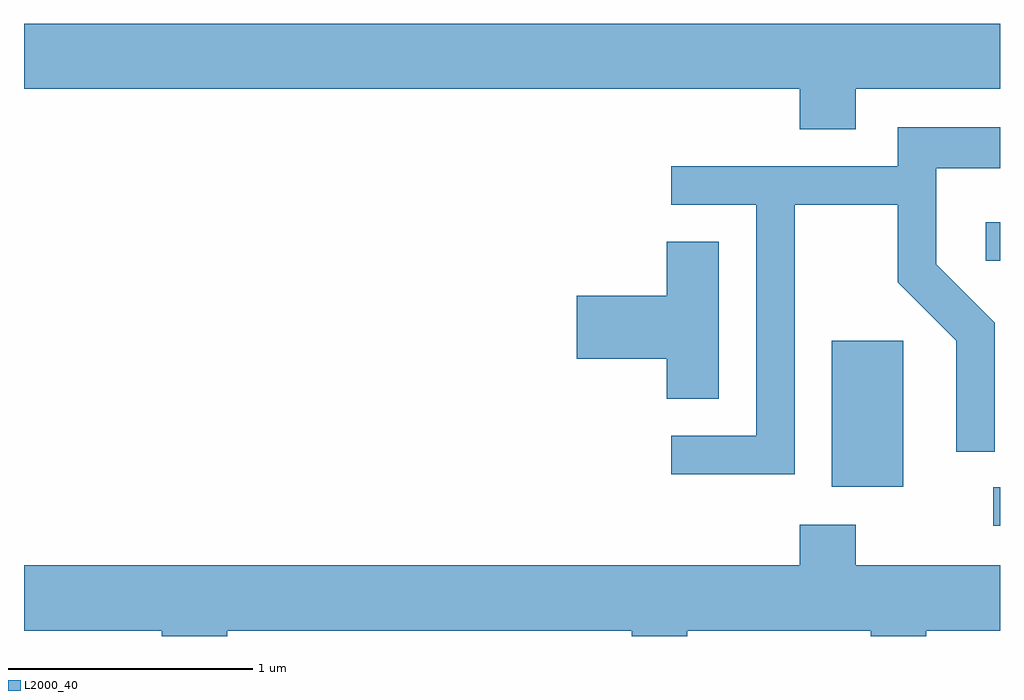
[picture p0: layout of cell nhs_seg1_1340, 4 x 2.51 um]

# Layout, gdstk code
import gdstk
lib = gdstk.Library(unit=1e-6, precision=1e-09)
def R(c, l, rs):  # rectangles x0, y0, x1, y1
    for r in rs: c.add(gdstk.rectangle(r[:2], r[2:], *l))
def P(c, l, *ps):  # polygons
    for p in ps: c.add(gdstk.Polygon(p, *l))
L2000_40 = (2000, 40)

nhs_seg1_1340 = lib.new_cell('nhs_seg1_1340')
R(nhs_seg1_1340, L2000_40, [(229.583,962.166,229.611,962.324), (228.921,962.326,229.214,962.924), (229.553,963.251,229.611,963.409)])
P(nhs_seg1_1340, L2000_40, [(229.019,963.956),(229.611,963.956),(229.611,964.224),(225.611,964.224),(225.611,963.956),(228.791,963.956),(228.791,963.791),(229.019,963.791)],
  [(228.769,963.481),(229.191,963.481),(229.191,963.164),(229.431,962.924),(229.431,962.468),(229.589,962.468),(229.589,962.997),(229.349,963.237),(229.349,963.631),(229.611,963.631),(229.611,963.799),(229.191,963.799),(229.191,963.639),(228.263,963.639),(228.263,963.481),(228.611,963.481),(228.611,962.534),(228.263,962.534),(228.263,962.376),(228.769,962.376)],
  [(228.459,963.329),(228.246,963.329),(228.246,963.109),(227.876,963.109),(227.876,962.851),(228.246,962.851),(228.246,962.686),(228.459,962.686)],
  [(226.444,961.736),(228.101,961.736),(228.101,961.712),(228.329,961.712),(228.329,961.736),(229.081,961.736),(229.081,961.712),(229.309,961.712),(229.309,961.736),(229.611,961.736),(229.611,962.004),(229.019,962.004),(229.019,962.169),(228.791,962.169),(228.791,962.004),(225.611,962.004),(225.611,961.736),(226.176,961.736),(226.176,961.712),(226.444,961.712)])

lib.write_gds('nhs_seg1_1340.gds')
